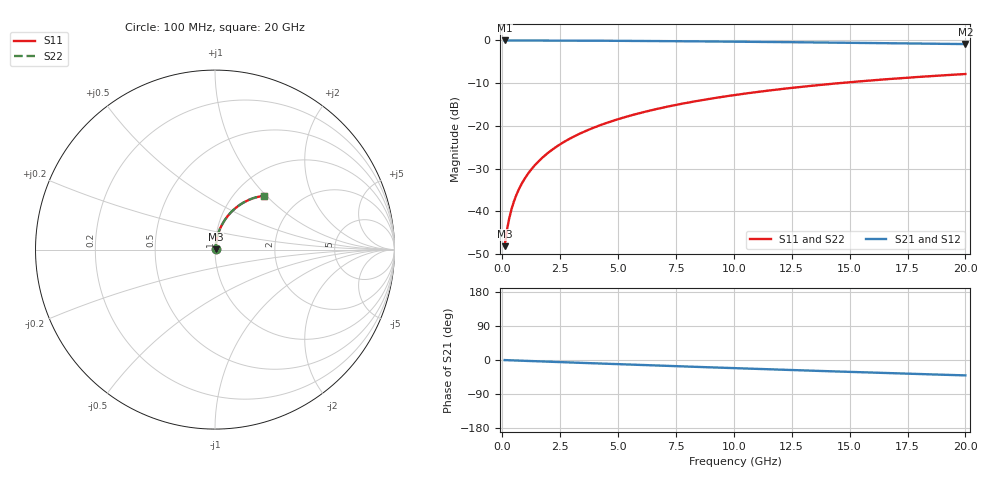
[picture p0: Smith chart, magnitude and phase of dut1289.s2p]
! Touchstone file exported from HFSS 2026.1.0
!  File:  C:/ffzhzh/LocalFiles/Ansys_Project_Files/temp_train_BSMRDL_1289_1783177981_55132.aedt
!  Generated:  11:14:13 PM Jul  4, 2026
!  Design:  BSMRDL
!  Project:  temp_train_BSMRDL_1289_1783177981_55132
! Variables:
!  h_bsmrdl = 3.69um
!  h_ox = 20um
!  h_rdl = 5um
!  h_sub = 80um
!  h_tmrdl = 5um
!  h_tsv = 80um
!  h_via = 3um
!  l_bsmrdl = 565.86um
!  l_sub = 965.86um
!  l_tmrdl = 200um
!  m_sub = 200um
!  pitch = 50.65um
!  r_tsv = 6um
!  s_tmrdl = 10um
!  w_bsmrdl = 19.7um
!  w_sub = 500um
!  w_tmrdl = 12um
!  x_tsv_center1 = 206um
!  x_tsv_center2 = 791.56um
!  x_tsv_center3 = 1003.56um
!  x_tsv_center4 = 1589.12um
!  x_tsv_center5 = 1801.12um
!  x_tsv_center6 = 2386.68um
# GHz S MA R 50.000000
! Terminal data exported
! Port[1] = BSM_RDL1_1_T1
! Port[2] = BSM_RDL1_1_T2
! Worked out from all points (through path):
!   200 points, 100 MHz to 20 GHz, reference 50 ohm
!   highest |S21| = -0.03 dB at 100 MHz (marker M1); lowest = -0.9 dB at 20 GHz (marker M2)
!   group delay of S21, straight-line fit = 5.65 ps
!   lowest |S11| = -48.1 dB at 100 MHz (marker M3), VSWR 1.01, Z = 50.3 + j0.263 ohm
!   |S11| at or under -10 dB: start of sweep to 14.56 GHz
!   |S22| runs from -48.1 to -7.9 dB; largest |S21 - S12| = 2e-15
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0.1  0.003928 41.7  0.9971 -0.2  0.9971 -0.2  0.003928 41.7
! Gamma 0 0 0 0
! Port Impedance 50 0 50 0
0.2  0.006018 59.3  0.997 -0.5  0.997 -0.5  0.006018 59.3
0.3  0.008328 67.0  0.9968 -0.7  0.9968 -0.7  0.008328 67.0
0.4  0.01068 71.2  0.9967 -0.9  0.9967 -0.9  0.01068 71.2
0.5  0.01304 73.9  0.9966 -1.1  0.9966 -1.1  0.01304 73.9
0.6  0.01541 75.7  0.9965 -1.4  0.9965 -1.4  0.01541 75.7
0.8  0.02016 78.0  0.9963 -1.8  0.9963 -1.8  0.02016 78.0
1.1  0.02734 79.8  0.996 -2.5  0.996 -2.5  0.02734 79.8
1.5  0.03695 80.7  0.9956 -3.3  0.9956 -3.3  0.03695 80.8
1.8  0.04417 80.9  0.9952 -4.0  0.9952 -4.0  0.04417 80.9
2.1  0.05138 80.9  0.9947 -4.7  0.9947 -4.7  0.05138 80.9
2.7  0.06576 80.3  0.9936 -6.0  0.9936 -6.0  0.06576 80.3
3.5  0.08478 79.1  0.9918 -7.7  0.9918 -7.7  0.08478 79.1
4.2  0.1012 77.9  0.9899 -9.3  0.9899 -9.3  0.1012 77.9
5  0.1198 76.4  0.9874 -11.0  0.9874 -11.0  0.1198 76.4
5.9  0.1404 74.6  0.9841 -12.9  0.9841 -12.9  0.1403 74.7
6.8  0.1605 72.9  0.9806 -14.8  0.9806 -14.8  0.1605 72.9
8.3  0.1932 69.9  0.9739 -18.0  0.9739 -18.0  0.1932 69.9
10.1  0.2308 66.3  0.9649 -21.7  0.9649 -21.7  0.2308 66.3
13.4  0.2951 59.9  0.9463 -28.3  0.9463 -28.3  0.2951 60.0
16.7  0.3529 53.8  0.9257 -34.6  0.9257 -34.6  0.3529 53.8
20  0.404 47.9  0.9044 -40.6  0.9044 -40.6  0.404 48.0
